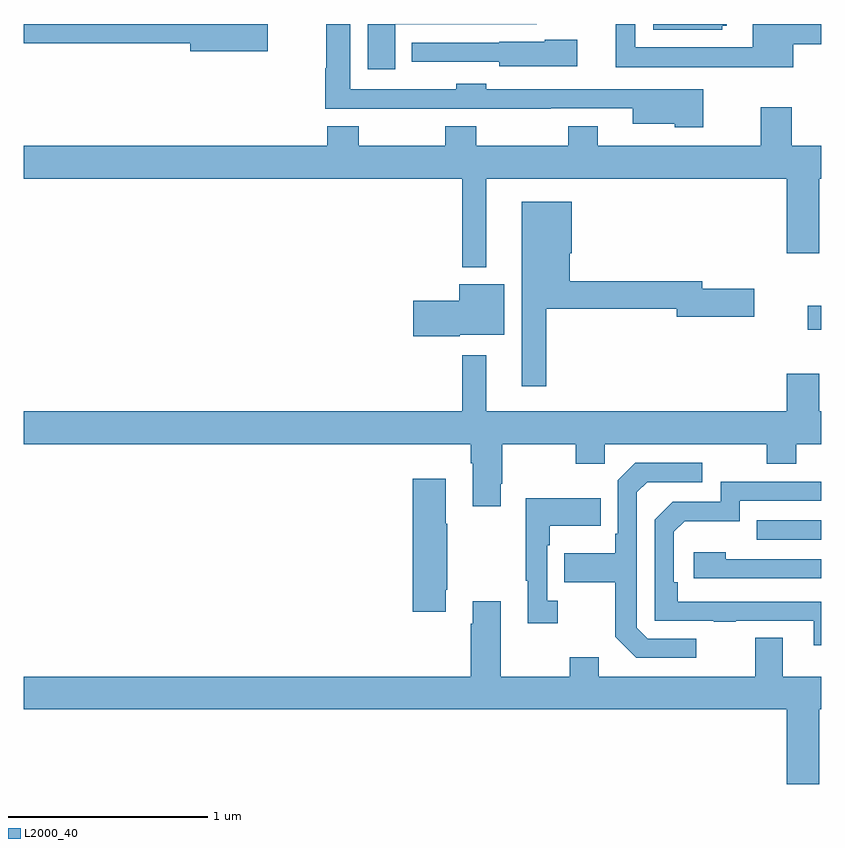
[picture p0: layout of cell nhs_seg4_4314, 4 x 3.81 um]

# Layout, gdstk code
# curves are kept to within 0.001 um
import gdstk
lib = gdstk.Library(unit=1e-6, precision=1e-09)
def R(c, l, rs):  # rectangles x0, y0, x1, y1
    for r in rs: c.add(gdstk.rectangle(r[:2], r[2:], *l))
def P(c, l, *ps):  # polygons
    for p in ps: c.add(gdstk.Polygon(p, *l))
L2000_40 = (2000, 40)

nhs_seg4_4314 = lib.new_cell('nhs_seg4_4314')
R(nhs_seg4_4314, L2000_40, [(344.677,824.313,345,824.409), (344.934,825.365,345,825.487)])
P(nhs_seg4_4314, L2000_40, [(344.409,826.573),(344.158,826.573),(344.158,826.572),(343.32,826.572),(343.32,826.6),(343.17,826.6),(343.17,826.573),(342.958,826.573),(342.958,826.572),(342.637,826.572),(342.637,826.9),(342.517,826.9),(342.517,826.679),(342.512,826.679),(342.512,826.475),(343.643,826.475),(343.643,826.476),(344.054,826.476),(344.054,826.4),(344.265,826.4),(344.265,826.382),(344.409,826.382)],
  [(344.86,826.799),(345,826.799),(345,826.9),(344.657,826.9),(344.657,826.783),(344.067,826.783),(344.067,826.9),(343.97,826.9),(343.97,826.682),(344.86,826.682)],
  [(342.862,826.899),(343.573,826.899),(343.573,826.9),(342.725,826.9),(342.725,826.674),(342.862,826.674)],
  [(344.505,826.89),(344.527,826.89),(344.527,826.9),(344.159,826.9),(344.159,826.871),(344.505,826.871)],
  [(342.223,826.9),(341,826.9),(341,826.804),(341.834,826.804),(341.834,826.762),(342.223,826.762)],
  [(343.777,826.821),(343.614,826.821),(343.614,826.81),(343.386,826.81),(343.386,826.806),(342.947,826.806),(342.947,826.71),(343.386,826.71),(343.386,826.688),(343.777,826.688)],
  [(343.321,826.124),(344.828,826.124),(344.828,825.75),(344.992,825.75),(344.992,826.124),(345,826.124),(345,826.288),(344.853,826.288),(344.853,826.483),(344.698,826.483),(344.698,826.288),(343.879,826.288),(343.879,826.387),(343.732,826.387),(343.732,826.288),(343.269,826.288),(343.269,826.387),(343.114,826.387),(343.114,826.288),(342.681,826.288),(342.681,826.387),(342.521,826.387),(342.521,826.288),(341,826.288),(341,826.124),(343.2,826.124),(343.2,825.68),(343.321,825.68)],
  [(343.621,825.472),(344.276,825.472),(344.276,825.43),(344.665,825.43),(344.665,825.572),(344.404,825.572),(344.404,825.608),(343.738,825.608),(343.738,825.75),(343.75,825.75),(343.75,826.009),(343.499,826.009),(343.499,825.081),(343.621,825.081)],
  [(343.188,825.341),(343.411,825.341),(343.411,825.595),(343.184,825.595),(343.184,825.512),(342.954,825.512),(342.954,825.334),(343.188,825.334)],
  [(343.393,824.593),(343.401,824.593),(343.401,824.792),(343.768,824.792),(343.768,824.693),(343.914,824.693),(343.914,824.792),(344.728,824.792),(344.728,824.693),(344.875,824.693),(344.875,824.792),(345,824.792),(345,824.956),(344.992,824.956),(344.992,825.145),(344.828,825.145),(344.828,824.956),(343.321,824.956),(343.321,825.238),(343.2,825.238),(343.2,824.956),(341,824.956),(341,824.792),(343.241,824.792),(343.241,824.696),(343.253,824.696),(343.253,824.481),(343.393,824.481)],
  [(344.374,823.815),(344.13,823.815),(344.076,823.869),(344.076,824.55),(344.127,824.601),(344.404,824.601),(344.404,824.697),(344.067,824.697),(343.98,824.61),(343.98,824.341),(343.968,824.341),(343.968,824.245),(343.711,824.245),(343.711,824.098),(343.968,824.098),(343.968,823.825),(344.073,823.719),(344.374,823.719)],
  [(343.117,824.062),(343.125,824.062),(343.125,824.393),(343.117,824.393),(343.117,824.617),(342.95,824.617),(342.95,823.95),(343.117,823.95)],
  [(345,824),(344.282,824.001),(344.282,824.098),(344.262,824.098),(344.262,824.352),(344.315,824.405),(344.592,824.405),(344.592,824.508),(345,824.508),(345,824.604),(344.496,824.604),(344.496,824.502),(344.256,824.502),(344.166,824.412),(344.166,823.905),(344.461,823.905),(344.461,823.9),(344.573,823.9),(344.573,823.905),(344.963,823.905),(344.963,823.782),(345,823.782)],
  [(343.678,824.006),(343.626,824.006),(343.626,824.285),(343.639,824.285),(343.639,824.381),(343.895,824.381),(343.895,824.521),(343.518,824.521),(343.518,824.105),(343.529,824.105),(343.529,823.893),(343.678,823.893)],
  [(345,824.214),(344.522,824.214),(344.522,824.248),(344.361,824.248),(344.361,824.118),(345,824.118)],
  [(344.992,823.46),(345,823.46),(345,823.624),(344.809,823.624),(344.809,823.819),(344.669,823.819),(344.669,823.624),(343.885,823.624),(343.885,823.723),(343.738,823.723),(343.738,823.624),(343.393,823.624),(343.393,824.002),(343.253,824.002),(343.253,823.889),(343.241,823.889),(343.241,823.624),(341,823.624),(341,823.46),(344.828,823.46),(344.828,823.086),(344.992,823.086)])

lib.write_gds('nhs_seg4_4314.gds')
